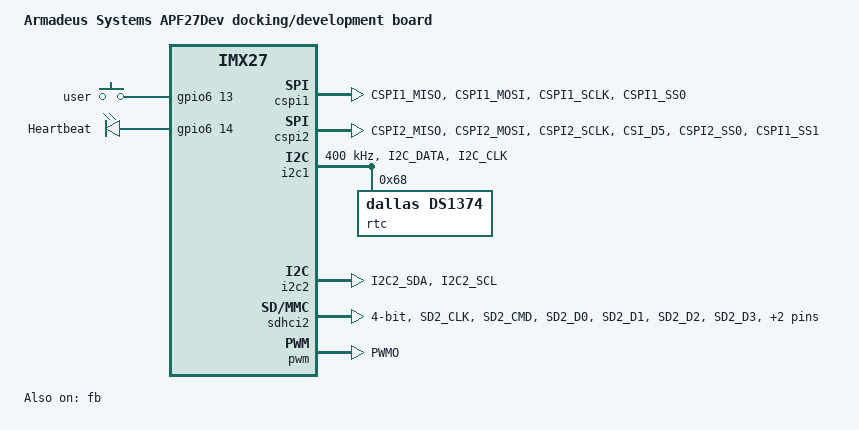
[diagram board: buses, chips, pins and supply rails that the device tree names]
/*
 * Copyright 2013 Armadeus Systems - <support@armadeus.com>
 *
 * The code contained herein is licensed under the GNU General Public
 * License. You may obtain a copy of the GNU General Public License
 * Version 2 or later at the following locations:
 *
 * http://www.opensource.org/licenses/gpl-license.html
 * http://www.gnu.org/copyleft/gpl.html
 */

/* APF27Dev is a docking board for the APF27 SOM */
#include "imx27-apf27.dts"

/ {
	model = "Armadeus Systems APF27Dev docking/development board";
	compatible = "armadeus,imx27-apf27dev", "armadeus,imx27-apf27", "fsl,imx27";

	display: display {
		model = "Chimei-LW700AT9003";
		native-mode = <&timing0>;
		bits-per-pixel = <16>;  /* non-standard but required */
		fsl,pcr = <0xfae80083>;	/* non-standard but required */
		display-timings {
			timing0: 800x480 {
				clock-frequency = <33000033>;
				hactive = <800>;
				vactive = <480>;
				hback-porch = <96>;
				hfront-porch = <96>;
				vback-porch = <20>;
				vfront-porch = <21>;
				hsync-len = <64>;
				vsync-len = <4>;
			};
		};
	};

	gpio-keys {
		compatible = "gpio-keys";
		pinctrl-names = "default";
		pinctrl-0 = <&pinctrl_gpio_keys>;

		user-key {
			label = "user";
			gpios = <&gpio6 13 GPIO_ACTIVE_HIGH>;
			linux,code = <276>; /* BTN_EXTRA */
		};
	};

	leds {
		compatible = "gpio-leds";
		pinctrl-names = "default";
		pinctrl-0 = <&pinctrl_gpio_leds>;

		user {
			label = "Heartbeat";
			gpios = <&gpio6 14 GPIO_ACTIVE_HIGH>;
			linux,default-trigger = "heartbeat";
		};
	};
};

&cspi1 {
	fsl,spi-num-chipselects = <1>;
	cs-gpios = <&gpio4 28 GPIO_ACTIVE_LOW>;
	pinctrl-names = "default";
	pinctrl-0 = <&pinctrl_cspi1 &pinctrl_cspi1_cs>;
	status = "okay";
};

&cspi2 {
	fsl,spi-num-chipselects = <3>;
	cs-gpios = <&gpio4 21 GPIO_ACTIVE_LOW>,
		   <&gpio4 27 GPIO_ACTIVE_LOW>,
		   <&gpio2 17 GPIO_ACTIVE_LOW>;
	pinctrl-names = "default";
	pinctrl-0 = <&pinctrl_cspi2 &pinctrl_cspi2_cs>;
	status = "okay";
};

&fb {
	display = <&display>;
	fsl,dmacr = <0x00020010>;
	pinctrl-names = "default";
	pinctrl-0 = <&pinctrl_imxfb1>;
	status = "okay";
};

&i2c1 {
	clock-frequency = <400000>;
	pinctrl-names = "default";
	pinctrl-0 = <&pinctrl_i2c1>;
	status = "okay";

	rtc@68 {
		compatible = "dallas,ds1374";
		reg = <0x68>;
	};
};

&i2c2 {
	pinctrl-names = "default";
	pinctrl-0 = <&pinctrl_i2c2>;
	status = "okay";
};

&iomuxc {
	imx27-apf27dev {
		pinctrl_cspi1: cspi1grp {
			fsl,pins = <
				MX27_PAD_CSPI1_MISO__CSPI1_MISO 0x0
				MX27_PAD_CSPI1_MOSI__CSPI1_MOSI 0x0
				MX27_PAD_CSPI1_SCLK__CSPI1_SCLK 0x0
			>;
		};

		pinctrl_cspi1_cs: cspi1csgrp {
			fsl,pins = <MX27_PAD_CSPI1_SS0__GPIO4_28 0x0>;
		};

		pinctrl_cspi2: cspi2grp {
			fsl,pins = <
				MX27_PAD_CSPI2_MISO__CSPI2_MISO 0x0
				MX27_PAD_CSPI2_MOSI__CSPI2_MOSI 0x0
				MX27_PAD_CSPI2_SCLK__CSPI2_SCLK 0x0
			>;
		};

		pinctrl_cspi2_cs: cspi2csgrp {
			fsl,pins = <
				MX27_PAD_CSI_D5__GPIO2_17 0x0
				MX27_PAD_CSPI2_SS0__GPIO4_21 0x0
				MX27_PAD_CSPI1_SS1__GPIO4_27 0x0
			>;
		};

		pinctrl_gpio_leds: gpioledsgrp {
			fsl,pins = <MX27_PAD_PC_VS1__GPIO6_14 0x0>;
		};

		pinctrl_gpio_keys: gpiokeysgrp {
			fsl,pins = <MX27_PAD_PC_VS2__GPIO6_13 0x0>;
		};

		pinctrl_imxfb1: imxfbgrp {
			fsl,pins = <
				MX27_PAD_CLS__CLS 0x0
				MX27_PAD_CONTRAST__CONTRAST 0x0
				MX27_PAD_LD0__LD0 0x0
				MX27_PAD_LD1__LD1 0x0
				MX27_PAD_LD2__LD2 0x0
				MX27_PAD_LD3__LD3 0x0
				MX27_PAD_LD4__LD4 0x0
				MX27_PAD_LD5__LD5 0x0
				MX27_PAD_LD6__LD6 0x0
				MX27_PAD_LD7__LD7 0x0
				MX27_PAD_LD8__LD8 0x0
				MX27_PAD_LD9__LD9 0x0
				MX27_PAD_LD10__LD10 0x0
				MX27_PAD_LD11__LD11 0x0
				MX27_PAD_LD12__LD12 0x0
				MX27_PAD_LD13__LD13 0x0
				MX27_PAD_LD14__LD14 0x0
				MX27_PAD_LD15__LD15 0x0
				MX27_PAD_LD16__LD16 0x0
				MX27_PAD_LD17__LD17 0x0
				MX27_PAD_LSCLK__LSCLK 0x0
				MX27_PAD_OE_ACD__OE_ACD 0x0
				MX27_PAD_PS__PS 0x0
				MX27_PAD_REV__REV 0x0
				MX27_PAD_SPL_SPR__SPL_SPR 0x0
				MX27_PAD_HSYNC__HSYNC 0x0
				MX27_PAD_VSYNC__VSYNC 0x0
			>;
		};

		pinctrl_i2c1: i2c1grp {
			fsl,pins = <
				MX27_PAD_I2C_DATA__I2C_DATA 0x0
				MX27_PAD_I2C_CLK__I2C_CLK 0x0
			>;
		};

		pinctrl_i2c2: i2c2grp {
			fsl,pins = <
				MX27_PAD_I2C2_SDA__I2C2_SDA 0x0
				MX27_PAD_I2C2_SCL__I2C2_SCL 0x0
			>;
		};

		pinctrl_pwm: pwmgrp {
			fsl,pins = <
				MX27_PAD_PWMO__PWMO 0x0
			>;
		};

		pinctrl_sdhc2: sdhc2grp {
			fsl,pins = <
				MX27_PAD_SD2_CLK__SD2_CLK 0x0
				MX27_PAD_SD2_CMD__SD2_CMD 0x0
				MX27_PAD_SD2_D0__SD2_D0 0x0
				MX27_PAD_SD2_D1__SD2_D1 0x0
				MX27_PAD_SD2_D2__SD2_D2 0x0
				MX27_PAD_SD2_D3__SD2_D3 0x0
			>;
		};

		pinctrl_sdhc2_cd: sdhc2cdgrp {
			fsl,pins = <MX27_PAD_TOUT__GPIO3_14 0x0>;
		};
	};
};

&sdhci2 {
	bus-width = <4>;
	cd-gpios = <&gpio3 14 GPIO_ACTIVE_HIGH>;
	pinctrl-names = "default";
	pinctrl-0 = <&pinctrl_sdhc2 &pinctrl_sdhc2_cd>;
	status = "okay";
};

&pwm {
	pinctrl-names = "default";
	pinctrl-0 = <&pinctrl_pwm>;
};
